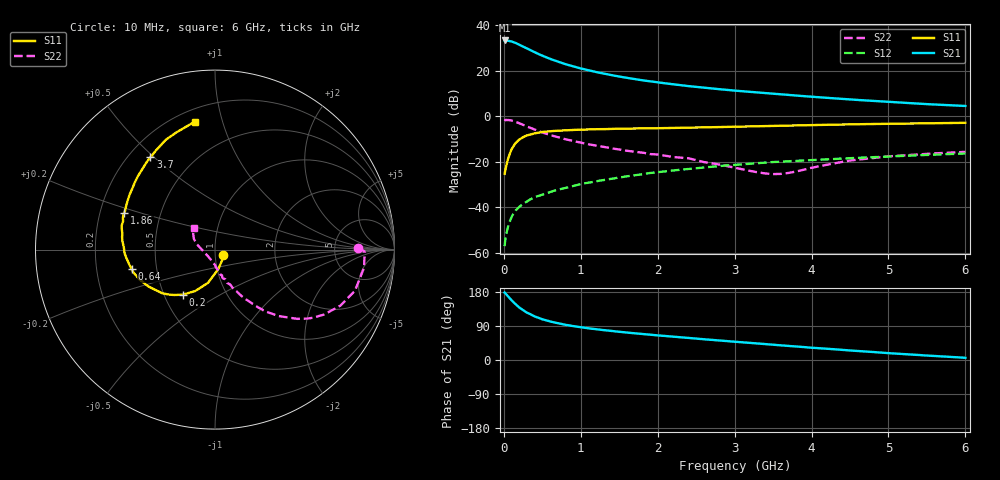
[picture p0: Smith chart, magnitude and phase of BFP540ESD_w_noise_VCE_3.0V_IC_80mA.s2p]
! Infineon Technologies  Discrete & RF Semiconductors
! BFP540ESD
! VCE =  3.0 V,  IC =  80 mA
! Common Emitter S-Parameters:  Nov 2015
# GHz  S  MA  R  50
!  f  S11  S21  S12  S22
! GHz  MAG  ANG  MAG  ANG  MAG  ANG  MAG  ANG
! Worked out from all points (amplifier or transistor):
!   210 points, 10 MHz to 6 GHz, reference 50 ohm
!   highest |S21| = 33.4 dB at 10 MHz (marker M1)
!   |S21| within 3 dB of that: start of sweep to 268 MHz
!   unconditionally stable (mu >= 1): start of sweep to 45.07 MHz; 960.9 MHz to end of sweep
!   at 185 MHz: K = 0.56, MSG = 36.0 dB, |S12| = -40.3 dB
!   at 1.52 GHz: K = 1.11, MAG = 20.1 dB, |S12| = -26.8 dB
!   at 6 GHz: K = 1.14, MAG = 8.2 dB, |S12| = -16.3 dB
!   lowest NFmin = 2.38 dB at 900 MHz
!   S11 on the Smith chart (normalised r, x): 10 MHz: 1.09, -0.07; 200 MHz: 0.62, -0.35; 640 MHz: 0.36, -0.10; 1.86 GHz: 0.30, +0.18; 3.7 GHz: 0.29, +0.49; 6 GHz: 0.27, +0.82
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0.01  0.0546 -33.1  46.71 177.9  0.0014 115.4  0.7969 0.7
0.02  0.068 -51.0  46.19 176.1  0.002 100.6  0.8337 -0.7
0.05  0.11 -80.4  46.43 168.8  0.0035 87.2  0.8366 -6.9
0.1  0.1893 -101.9  44.52 157.5  0.0061 78.0  0.8128 -16.4
0.15  0.2556 -115.5  41.37 147.4  0.0084 73.1  0.7649 -24.1
0.2  0.3088 -125.5  37.81 138.6  0.0102 71.2  0.7069 -30.8
0.26  0.3554 -135.0  33.6 130.0  0.0122 68.0  0.6416 -36.8
0.3  0.3813 -140.3  31.06 124.9  0.0135 67.4  0.5991 -40.1
0.4  0.4234 -150.9  25.6 114.9  0.0167 65.1  0.5118 -46.3
0.5  0.4533 -158.7  21.56 107.4  0.019 64.7  0.4427 -50.9
0.6  0.4732 -164.7  18.39 101.6  0.0216 65.1  0.3899 -54.0
0.64  0.477 -166.8  17.43 99.9  0.0228 65.4  0.3735 -54.9
0.8  0.4958 -174.3  14.08 92.9  0.0265 64.7  0.3145 -59.1
1.02  0.5099 177.8  11.11 85.9  0.0331 65.8  0.2596 -62.8
1.4  0.5316 167.6  8.069 76.6  0.0426 64.3  0.1978 -69.8
1.86  0.5459 157.8  6.033 67.5  0.0554 61.6  0.1532 -74.9
2.02  0.5508 154.3  5.535 64.6  0.0598 60.8  0.1433 -77.4
3.1  0.5971 134.7  3.572 46.8  0.0883 51.7  0.0687 -102.5
3.7  0.6273 125.0  2.958 37.2  0.1032 45.8  0.057 -156.8
4.1  0.6481 119.4  2.631 31.1  0.1116 42.0  0.0801 174.8
5.1  0.6904 107.2  2.04 16.9  0.1334 32.8  0.1355 151.0
6  0.7219 98.9  1.694 5.8  0.1527 25.7  0.1659 134.5
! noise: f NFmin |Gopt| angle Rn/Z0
0.9  2.38  0.59  -140  0.21
1.8  2.6  0.62  -141  0.22
2.4  2.71  0.63  -130  0.32
3  2.93  0.66  -121  0.48
4  3.08  0.73  -101  0.98
5  3.38  0.79  -86  1.55
6  4.1  0.72  -81  2.55
